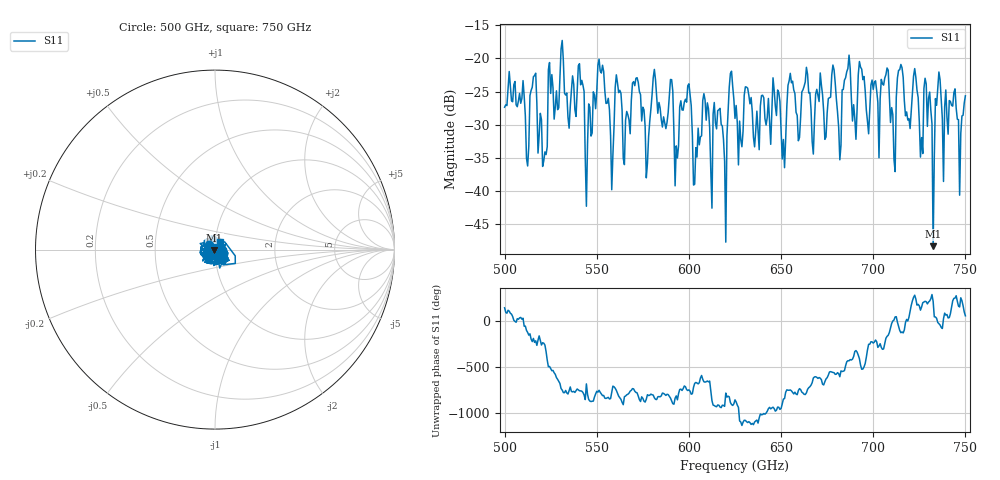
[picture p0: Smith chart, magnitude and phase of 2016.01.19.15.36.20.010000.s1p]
!Created with skrf (http://scikit-rf.org).
# GHz S RI R 50.0
!freq ReS11 ImS11
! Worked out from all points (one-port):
!   401 points, 500 GHz to 750 GHz, reference 50 ohm
!   lowest |S11| = -48.4 dB at 732.5 GHz (marker M1), VSWR 1.01, Z = 49.7 - j0.2 ohm
!   |S11| at or under -10 dB: start of sweep to end of sweep
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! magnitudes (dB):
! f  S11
! 500 GHz  -27.4
! 512.5 GHz  -36.2
! 515.6 GHz  -22.8
! 521.9 GHz  -34.1
! 525 GHz  -25.3
! 531.2 GHz  -17.3
! 541.2 GHz  -24.0
! 545 GHz  -32.8
! 551.9 GHz  -21.9
! 558.1 GHz  -39.8
! 562.5 GHz  -24.8
! 577.5 GHz  -35.8
! 580.6 GHz  -22.9
! 590 GHz  -23.2
! 593.8 GHz  -35.0
! 599.4 GHz  -24.1
! 603.1 GHz  -39.0
! 625 GHz  -29.1
! 651.2 GHz  -32.2
! 656.2 GHz  -23.4
! 678.8 GHz  -21.7
! 681.2 GHz  -30.4
! 687.5 GHz  -21.5
! 718.8 GHz  -29.3
! 723.1 GHz  -22.9
! 732.5 GHz  -48.4
! 735 GHz  -24.7
! 750 GHz  -25.6
